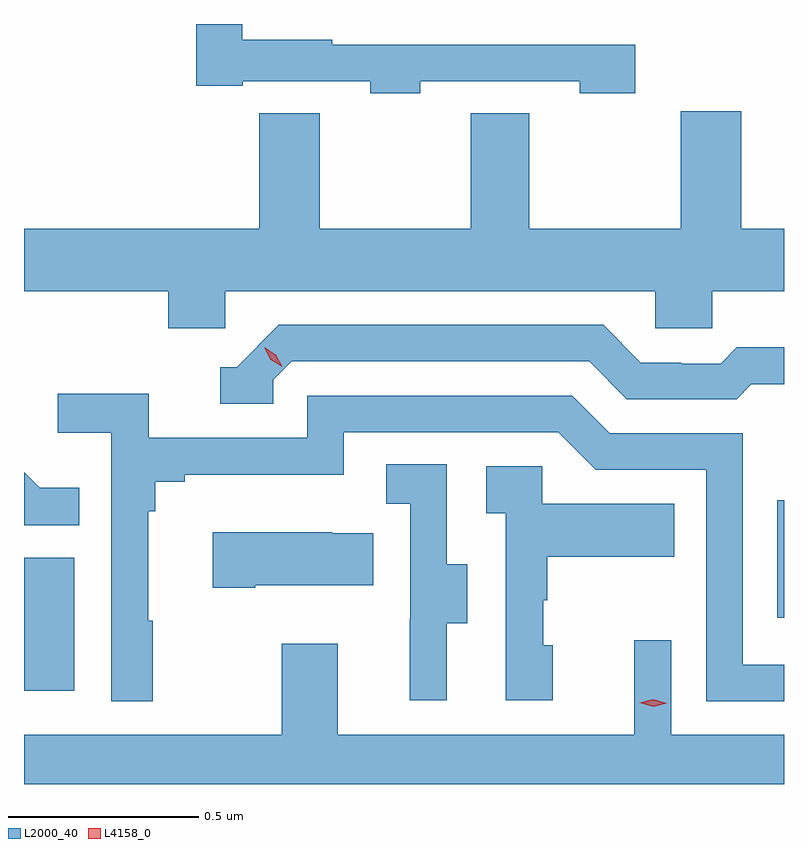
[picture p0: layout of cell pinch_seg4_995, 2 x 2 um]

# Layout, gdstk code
import gdstk
lib = gdstk.Library(unit=1e-6, precision=1e-09)
def R(c, l, rs):  # rectangles x0, y0, x1, y1
    for r in rs: c.add(gdstk.rectangle(r[:2], r[2:], *l))
def P(c, l, *ps):  # polygons
    for p in ps: c.add(gdstk.Polygon(p, *l))
L2000_40 = (2000, 40)
L4158_0 = (4158, 0)

pinch_seg4_995 = lib.new_cell('pinch_seg4_995')
R(pinch_seg4_995, L2000_40, [(876.88,787.776,877.012,788.127), (878.862,787.968,878.88,788.278)])
P(pinch_seg4_995, L2000_40, [(877.923,789.381),(878.343,789.381),(878.343,789.349),(878.488,789.349),(878.488,789.477),(877.691,789.477),(877.691,789.49),(877.454,789.49),(877.454,789.531),(877.333,789.531),(877.333,789.369),(877.456,789.369),(877.456,789.381),(877.791,789.381),(877.791,789.349),(877.923,789.349)],
  [(877.41,788.828),(878.541,788.828),(878.541,788.73),(878.691,788.73),(878.691,788.828),(878.88,788.828),(878.88,788.992),(878.768,788.992),(878.768,789.301),(878.608,789.301),(878.608,788.992),(878.21,788.992),(878.21,789.296),(878.056,789.296),(878.056,788.992),(877.658,788.992),(877.658,789.296),(877.499,789.296),(877.499,788.992),(876.88,788.992),(876.88,788.828),(877.259,788.828),(877.259,788.73),(877.41,788.73)],
  [(877.536,788.595),(877.584,788.643),(878.367,788.643),(878.466,788.544),(878.755,788.544),(878.794,788.583),(878.88,788.583),(878.88,788.68),(878.755,788.68),(878.713,788.637),(878.61,788.637),(878.61,788.64),(878.503,788.64),(878.404,788.739),(877.551,788.739),(877.44,788.628),(877.397,788.628),(877.397,788.532),(877.536,788.532)],
  [(877.219,787.961),(877.207,787.961),(877.207,788.249),(877.226,788.249),(877.226,788.326),(877.303,788.326),(877.303,788.345),(877.722,788.345),(877.722,788.457),(878.286,788.457),(878.385,788.358),(878.676,788.358),(878.676,787.749),(878.88,787.749),(878.88,787.845),(878.772,787.845),(878.772,788.454),(878.422,788.454),(878.323,788.553),(877.626,788.553),(877.626,788.442),(877.208,788.442),(877.208,788.558),(876.969,788.558),(876.969,788.456),(877.11,788.456),(877.11,787.749),(877.219,787.749)],
  [(877.993,787.954),(878.047,787.954),(878.047,788.109),(877.992,788.109),(877.992,788.372),(877.833,788.372),(877.833,788.269),(877.896,788.269),(877.896,787.965),(877.895,787.965),(877.895,787.752),(877.993,787.752)],
  [(878.272,787.896),(878.247,787.896),(878.247,788.015),(878.257,788.015),(878.257,788.129),(878.591,788.129),(878.591,788.269),(878.244,788.269),(878.244,788.367),(878.097,788.367),(878.097,788.243),(878.148,788.243),(878.148,787.752),(878.272,787.752)],
  [(877.025,788.311),(876.921,788.311),(876.88,788.352),(876.88,788.213),(876.881,788.212),(877.025,788.212)],
  [(877.489,788.054),(877.799,788.054),(877.799,788.191),(877.691,788.191),(877.691,788.194),(877.377,788.194),(877.377,788.047),(877.489,788.047)],
  [(878.486,787.909),(878.486,787.66),(877.705,787.66),(877.705,787.9),(877.558,787.9),(877.558,787.66),(876.88,787.66),(876.88,787.531),(878.88,787.531),(878.88,787.66),(878.583,787.66),(878.583,787.909)])
P(pinch_seg4_995, L4158_0, [(878.536,787.734),(878.501,787.745),(878.5,787.745),(878.501,787.745),(878.536,787.754),(878.571,787.743),(878.571,787.743),(878.571,787.743)],
  [(877.56,788.629),(877.529,788.648),(877.512,788.68),(877.512,788.68),(877.512,788.68),(877.543,788.661),(877.56,788.629),(877.56,788.629)])

lib.write_gds('pinch_seg4_995.gds')
